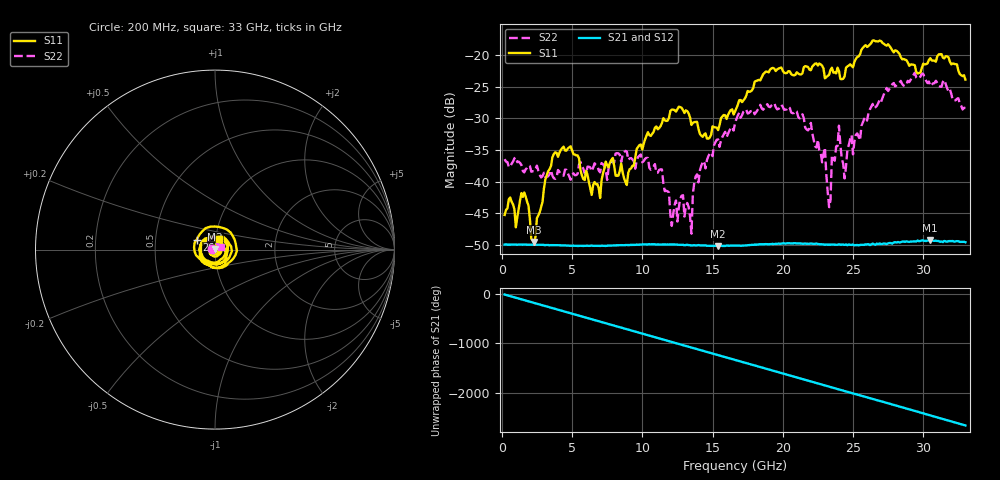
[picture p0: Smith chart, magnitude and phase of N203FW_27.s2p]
# GHZ S RI R 50
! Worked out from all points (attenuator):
!   329 points, 200 MHz to 33 GHz, reference 50 ohm
!   highest |S21| = -49.27 dB at 30.5 GHz (marker M1); lowest = -50.2 dB at 15.4 GHz (marker M2)
!   lowest |S11| = -49.6 dB at 2.3 GHz (marker M3), VSWR 1.01, Z = 50.1 + j0.326 ohm
!   |S11| at or under -10 dB: start of sweep to end of sweep
!   |S22| runs from -48.2 to -22.8 dB; largest |S21 - S12| = 8.9e-05
!   S11 on the Smith chart (normalised r, x): 200 MHz: 1.01, +0.00; 26 GHz: 0.81, +0.09; 33 GHz: 1.03, +0.13
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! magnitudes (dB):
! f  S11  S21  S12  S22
! 200 MHz  -45.3  -49.9  -49.9  -36.5
! 1.6 GHz  -41.7  -50.0  -49.9  -38.5
! 2.3 GHz  -49.6  -50.0  -50.0  -38.3
! 3.7 GHz  -35.7  -50.1  -50.0  -39.5
! 5.7 GHz  -39.0  -50.2  -50.1  -37.5
! 8.9 GHz  -40.5  -50.0  -50.0  -35.2
! 11.2 GHz  -31.5  -49.9  -49.9  -38.1
! 12.1 GHz  -28.6  -49.9  -49.9  -47.0
! 12.9 GHz  -28.7  -50.0  -50.0  -42.2
! 13.5 GHz  -31.0  -50.1  -50.1  -48.2
! 13.8 GHz  -30.6  -50.1  -50.1  -39.2
! 15.4 GHz  -31.9  -50.2  -50.2  -33.3
! 16.6 GHz  -28.9  -50.1  -50.1  -30.8
! 22.1 GHz  -21.8  -49.8  -49.8  -32.3
! 23 GHz  -23.7  -50.0  -50.0  -34.6
! 23.3 GHz  -23.1  -50.0  -50.0  -44.0
! 24 GHz  -22.5  -49.9  -49.9  -31.2
! 24.4 GHz  -23.4  -50.0  -49.9  -39.5
! 26 GHz  -18.7  -49.9  -49.9  -30.4
! 27.6 GHz  -18.6  -49.7  -49.7  -25.3
! 30.5 GHz  -20.5  -49.3  -49.4  -24.9
! 33 GHz  -23.9  -49.6  -49.6  -28.4
